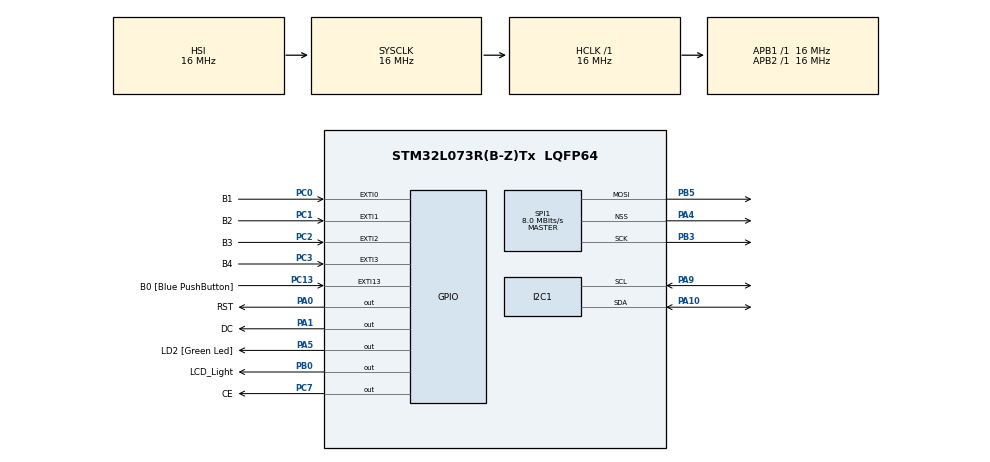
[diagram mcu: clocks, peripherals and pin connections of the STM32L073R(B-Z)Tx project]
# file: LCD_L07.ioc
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I2C1.Timing=0x00303D5B
Mcu.Family=STM32L0
Mcu.Name=STM32L073R(B-Z)Tx
Mcu.Package=LQFP64
NVIC.EXTI0_1_IRQn=true\:0\:0\:false\:false\:true\:true\:true\:true
NVIC.EXTI2_3_IRQn=true\:0\:0\:false\:false\:true\:true\:true\:true
NVIC.EXTI4_15_IRQn=true\:0\:0\:false\:false\:true\:true\:true\:true
NVIC.SPI1_IRQn=true\:0\:0\:false\:false\:true\:true\:true\:true
NVIC.TIM21_IRQn=true\:0\:0\:false\:false\:true\:true\:true\:true
NVIC.TIM3_IRQn=true\:0\:0\:false\:false\:true\:true\:true\:true
NVIC.TIM6_DAC_IRQn=true\:0\:0\:false\:false\:true\:true\:true\:true
NVIC.TIM7_IRQn=true\:0\:0\:false\:false\:true\:true\:true\:true
PA0.GPIO_Label=RST
PA0.Signal=GPIO_Output
PA1.GPIO_Label=DC
PA1.Signal=GPIO_Output
PA10.Mode=I2C
PA10.Signal=I2C1_SDA
PA13.GPIO_Label=TMS
PA13.Signal=SYS_SWDIO
PA14.GPIO_Label=TCK
PA14.Signal=SYS_SWCLK
PA2.GPIO_Label=USART_TX
PA2.Signal=USART2_TX
PA3.GPIO_Label=USART_RX
PA3.Signal=USART2_RX
PA4.Mode=NSS_Signal_Hard_Output
PA4.Signal=SPI1_NSS
PA5.GPIO_Label=LD2 [Green Led]
PA5.Signal=GPIO_Output
PA9.Mode=I2C
PA9.Signal=I2C1_SCL
PB0.GPIO_Label=LCD_Light
PB0.PinState=GPIO_PIN_SET
PB0.Signal=GPIO_Output
PB3.Mode=TX_Only_Simplex_Unidirect_Master
PB3.Signal=SPI1_SCK
PB5.Mode=TX_Only_Simplex_Unidirect_Master
PB5.Signal=SPI1_MOSI
PC0.GPIO_Label=B1
PC0.GPIO_ModeDefaultEXTI=GPIO_MODE_IT_RISING
PC0.Signal=GPXTI0
PC1.GPIO_Label=B2
PC1.GPIO_ModeDefaultEXTI=GPIO_MODE_IT_RISING
PC1.Signal=GPXTI1
PC13.GPIO_Label=B0 [Blue PushButton]
PC13.GPIO_ModeDefaultEXTI=GPIO_MODE_IT_RISING
PC13.Signal=GPXTI13
PC14-OSC32_IN.Signal=RCC_OSC32_IN
PC15-OSC32_OUT.Signal=RCC_OSC32_OUT
PC2.GPIO_Label=B3
PC2.GPIO_ModeDefaultEXTI=GPIO_MODE_IT_RISING
PC2.Signal=GPXTI2
PC3.GPIO_Label=B4
PC3.GPIO_ModeDefaultEXTI=GPIO_MODE_IT_RISING_FALLING
PC3.Signal=GPXTI3
PC7.GPIO_Label=CE
PC7.Signal=GPIO_Output
PH0-OSC_IN.GPIO_Label=MCO
PH0-OSC_IN.Mode=HSE-External-Oscillator
PH0-OSC_IN.Signal=RCC_OSC_IN
PH1-OSC_OUT.Mode=HSE-External-Oscillator
PH1-OSC_OUT.Signal=RCC_OSC_OUT
ProjectManager.HeapSize=0x200
ProjectManager.StackSize=0x300
ProjectManager.TargetToolchain=STM32CubeIDE
RCC.ADCFreq_Value=16000000
RCC.AHBFreq_Value=16000000
RCC.APB1Freq_Value=16000000
RCC.APB1TimFreq_Value=16000000
RCC.APB2Freq_Value=16000000
RCC.APB2TimFreq_Value=16000000
RCC.HCLKFreq_Value=16000000
RCC.HSE_VALUE=8000000
RCC.HSI16_VALUE=16000000
RCC.HSI48_VALUE=48000000
RCC.HSI_VALUE=16000000
RCC.LSEState=RCC_LSE_ON
RCC.LSE_VALUE=32768
RCC.MSI_VALUE=2097000
RCC.PLLDIV=RCC_PLLDIV_3
RCC.PLLMUL=RCC_PLLMUL_12
RCC.PLLSourceVirtual=RCC_PLLSOURCE_HSE
RCC.SYSCLKFreq_VALUE=16000000
RCC.SYSCLKSource=RCC_SYSCLKSOURCE_HSI
RCC.VCOOutputFreq_Value=96000000
SPI1.BaudRatePrescaler=SPI_BAUDRATEPRESCALER_2
SPI1.CalculateBaudRate=8.0 MBits/s
SPI1.Direction=SPI_DIRECTION_2LINES
SPI1.Mode=SPI_MODE_MASTER
SPI1.VirtualNSS=VM_NSSHARD
SPI1.VirtualType=VM_MASTER
TIM21.Period=1000-1
TIM21.Prescaler=16-1
TIM3.AutoReloadPreload=TIM_AUTORELOAD_PRELOAD_ENABLE
TIM3.Period=1000-1
TIM3.Prescaler=16000-1
TIM6.Period=1000-1
TIM6.Prescaler=32000-1
TIM7.AutoReloadPreload=TIM_AUTORELOAD_PRELOAD_ENABLE
TIM7.Period=1000-1
TIM7.Prescaler=1600-1
VP_TIM21_VS_ClockSourceINT.Mode=Internal
VP_TIM3_VS_ClockSourceINT.Mode=Internal
VP_TIM6_VS_ClockSourceINT.Mode=Enable_Timer
VP_TIM7_VS_ClockSourceINT.Mode=Enable_Timer
board=NUCLEO-L073RZ

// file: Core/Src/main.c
/* USER CODE BEGIN Header */
/**
 ******************************************************************************
 * @file           : main.c
 * @brief          : Main program body
 ******************************************************************************
 * @attention
 *
 * Copyright (c) 2022 STMicroelectronics.
 * All rights reserved.
 *
 * This software is licensed under terms that can be found in the LICENSE file
 * in the root directory of this software component.
 * If no LICENSE file comes with this software, it is provided AS-IS.
 *
 ******************************************************************************
 */
/* USER CODE END Header */

#include "main.h"

/* USER CODE BEGIN Includes */

#include "BMP280.h"
#include "Clock.h"

#include "Display.h"
#include "Strings.h"

//#include "Template_design.h"

#include "Template_design.h"
//#include "Stopper.h"
#include "Clock_callendar.h"
//#include "Time_set_mode.h"

/* USER CODE END Includes */

/* USER CODE BEGIN PD */
#define N_of_DeviceMode 3//how many device modes are. Remember to change it when you add a new mode
/* USER CODE END PD */

I2C_HandleTypeDef hi2c1;

SPI_HandleTypeDef hspi1;

TIM_HandleTypeDef htim3;
TIM_HandleTypeDef htim6;
TIM_HandleTypeDef htim7;
TIM_HandleTypeDef htim21;

void SystemClock_Config(void);
static void MX_GPIO_Init(void);
static void MX_SPI1_Init(void);
static void MX_TIM3_Init(void);
static void MX_I2C1_Init(void);
static void MX_TIM7_Init(void);
static void MX_TIM6_Init(void);
static void MX_TIM21_Init(void);

/* USER CODE BEGIN 0 */
/*
struct time_s time_stopper;

struct time_s time_global = { 0, 0, 0, 0, 07, 12, 2022, 3 };
struct bar_or_temp weather;
struct settings_s settings = { 0, 0, 0, 0 };
*/
uint8_t stopper_counter=0;
uint8_t bpm280_read_counter = 0;

/* USER CODE END 0 */

int main(void)
{

  /* MCU Configuration--------------------------------------------------------*/

  /* Reset of all peripherals, Initializes the Flash interface and the Systick. */
  HAL_Init();

  /* USER CODE BEGIN Init */
  /*
  LCD_hspi_p = &hspi1;
  BMP_i2c_p = &hi2c1;
*/

  /* USER CODE END Init */

  /* Configure the system clock */
  SystemClock_Config();

  /* Initialize all configured peripherals */
  MX_GPIO_Init();
  MX_SPI1_Init();
  MX_TIM3_Init();
  MX_I2C1_Init();
  MX_TIM7_Init();
  MX_TIM6_Init();
  MX_TIM21_Init();
  /* USER CODE BEGIN 2 */
/*
  LCD_Init();//has to be first

	Clock_init();
	Templates_init();
	Stopper_init();
	Time_set_init();
	BMP280_init();

	BMP280_read_values(&weather);
  HAL_TIM_Base_Start_IT(&htim3); //main clock timer
  clear_time(&time_stopper);

  currentMode = ClockMode;
  Clock_change_mode(&clock_pos, &clock_fonts, clock_mode, clock_horizontal_mode);
  Clock_template_init(&Clock_callendar, &time_global, &weather, &settings, &clock_pos, &clock_fonts);
  LCD_refresh(&Clock_callendar);
*/
  /* USER CODE END 2 */

  /* Infinite loop */
	while (1) {

	}
}

void SystemClock_Config(void)
{
  RCC_OscInitTypeDef RCC_OscInitStruct = {0};
  RCC_ClkInitTypeDef RCC_ClkInitStruct = {0};
  RCC_PeriphCLKInitTypeDef PeriphClkInit = {0};

  /** Configure the main internal regulator output voltage
  */
  __HAL_PWR_VOLTAGESCALING_CONFIG(PWR_REGULATOR_VOLTAGE_SCALE1);

  /** Initializes the RCC Oscillators according to the specified parameters
  * in the RCC_OscInitTypeDef structure.
  */
  RCC_OscInitStruct.OscillatorType = RCC_OSCILLATORTYPE_HSI;
  RCC_OscInitStruct.HSIState = RCC_HSI_ON;
  RCC_OscInitStruct.HSICalibrationValue = RCC_HSICALIBRATION_DEFAULT;
  RCC_OscInitStruct.PLL.PLLState = RCC_PLL_NONE;
  if (HAL_RCC_OscConfig(&RCC_OscInitStruct) != HAL_OK)
  {
    Error_Handler();
  }

  /** Initializes the CPU, AHB and APB buses clocks
  */
  RCC_ClkInitStruct.ClockType = RCC_CLOCKTYPE_HCLK|RCC_CLOCKTYPE_SYSCLK
                              |RCC_CLOCKTYPE_PCLK1|RCC_CLOCKTYPE_PCLK2;
  RCC_ClkInitStruct.SYSCLKSource = RCC_SYSCLKSOURCE_HSI;
  RCC_ClkInitStruct.AHBCLKDivider = RCC_SYSCLK_DIV1;
  RCC_ClkInitStruct.APB1CLKDivider = RCC_HCLK_DIV1;
  RCC_ClkInitStruct.APB2CLKDivider = RCC_HCLK_DIV1;

  if (HAL_RCC_ClockConfig(&RCC_ClkInitStruct, FLASH_LATENCY_0) != HAL_OK)
  {
    Error_Handler();
  }
  PeriphClkInit.PeriphClockSelection = RCC_PERIPHCLK_I2C1;
  PeriphClkInit.I2c1ClockSelection = RCC_I2C1CLKSOURCE_PCLK1;
  if (HAL_RCCEx_PeriphCLKConfig(&PeriphClkInit) != HAL_OK)
  {
    Error_Handler();
  }
}

static void MX_I2C1_Init(void)
{

  hi2c1.Instance = I2C1;
  hi2c1.Init.Timing = 0x00303D5B;
  hi2c1.Init.OwnAddress1 = 0;
  hi2c1.Init.AddressingMode = I2C_ADDRESSINGMODE_7BIT;
  hi2c1.Init.DualAddressMode = I2C_DUALADDRESS_DISABLE;
  hi2c1.Init.OwnAddress2 = 0;
  hi2c1.Init.OwnAddress2Masks = I2C_OA2_NOMASK;
  hi2c1.Init.GeneralCallMode = I2C_GENERALCALL_DISABLE;
  hi2c1.Init.NoStretchMode = I2C_NOSTRETCH_DISABLE;
  if (HAL_I2C_Init(&hi2c1) != HAL_OK)
  {
    Error_Handler();
  }

  /** Configure Analogue filter
  */
  if (HAL_I2CEx_ConfigAnalogFilter(&hi2c1, I2C_ANALOGFILTER_ENABLE) != HAL_OK)
  {
    Error_Handler();
  }

  /** Configure Digital filter
  */
  if (HAL_I2CEx_ConfigDigitalFilter(&hi2c1, 0) != HAL_OK)
  {
    Error_Handler();
  }

}

static void MX_SPI1_Init(void)
{

  /* SPI1 parameter configuration*/
  hspi1.Instance = SPI1;
  hspi1.Init.Mode = SPI_MODE_MASTER;
  hspi1.Init.Direction = SPI_DIRECTION_2LINES;
  hspi1.Init.DataSize = SPI_DATASIZE_8BIT;
  hspi1.Init.CLKPolarity = SPI_POLARITY_LOW;
  hspi1.Init.CLKPhase = SPI_PHASE_1EDGE;
  hspi1.Init.NSS = SPI_NSS_HARD_OUTPUT;
  hspi1.Init.BaudRatePrescaler = SPI_BAUDRATEPRESCALER_2;
  hspi1.Init.FirstBit = SPI_FIRSTBIT_MSB;
  hspi1.Init.TIMode = SPI_TIMODE_DISABLE;
  hspi1.Init.CRCCalculation = SPI_CRCCALCULATION_DISABLE;
  hspi1.Init.CRCPolynomial = 7;
  if (HAL_SPI_Init(&hspi1) != HAL_OK)
  {
    Error_Handler();
  }

}

static void MX_TIM3_Init(void)
{

  TIM_ClockConfigTypeDef sClockSourceConfig = {0};
  TIM_MasterConfigTypeDef sMasterConfig = {0};

  htim3.Instance = TIM3;
  htim3.Init.Prescaler = 16000-1;
  htim3.Init.CounterMode = TIM_COUNTERMODE_UP;
  htim3.Init.Period = 1000-1;
  htim3.Init.ClockDivision = TIM_CLOCKDIVISION_DIV1;
  htim3.Init.AutoReloadPreload = TIM_AUTORELOAD_PRELOAD_ENABLE;
  if (HAL_TIM_Base_Init(&htim3) != HAL_OK)
  {
    Error_Handler();
  }
  sClockSourceConfig.ClockSource = TIM_CLOCKSOURCE_INTERNAL;
  if (HAL_TIM_ConfigClockSource(&htim3, &sClockSourceConfig) != HAL_OK)
  {
    Error_Handler();
  }
  sMasterConfig.MasterOutputTrigger = TIM_TRGO_RESET;
  sMasterConfig.MasterSlaveMode = TIM_MASTERSLAVEMODE_DISABLE;
  if (HAL_TIMEx_MasterConfigSynchronization(&htim3, &sMasterConfig) != HAL_OK)
  {
    Error_Handler();
  }

}

static void MX_TIM6_Init(void)
{

  TIM_MasterConfigTypeDef sMasterConfig = {0};

  htim6.Instance = TIM6;
  htim6.Init.Prescaler = 32000-1;
  htim6.Init.CounterMode = TIM_COUNTERMODE_UP;
  htim6.Init.Period = 1000-1;
  htim6.Init.AutoReloadPreload = TIM_AUTORELOAD_PRELOAD_DISABLE;
  if (HAL_TIM_Base_Init(&htim6) != HAL_OK)
  {
    Error_Handler();
  }
  sMasterConfig.MasterOutputTrigger = TIM_TRGO_RESET;
  sMasterConfig.MasterSlaveMode = TIM_MASTERSLAVEMODE_DISABLE;
  if (HAL_TIMEx_MasterConfigSynchronization(&htim6, &sMasterConfig) != HAL_OK)
  {
    Error_Handler();
  }

}

static void MX_TIM7_Init(void)
{

  TIM_MasterConfigTypeDef sMasterConfig = {0};

  htim7.Instance = TIM7;
  htim7.Init.Prescaler = 1600-1;
  htim7.Init.CounterMode = TIM_COUNTERMODE_UP;
  htim7.Init.Period = 1000-1;
  htim7.Init.AutoReloadPreload = TIM_AUTORELOAD_PRELOAD_ENABLE;
  if (HAL_TIM_Base_Init(&htim7) != HAL_OK)
  {
    Error_Handler();
  }
  sMasterConfig.MasterOutputTrigger = TIM_TRGO_RESET;
  sMasterConfig.MasterSlaveMode = TIM_MASTERSLAVEMODE_DISABLE;
  if (HAL_TIMEx_MasterConfigSynchronization(&htim7, &sMasterConfig) != HAL_OK)
  {
    Error_Handler();
  }

}

static void MX_TIM21_Init(void)
{

  TIM_ClockConfigTypeDef sClockSourceConfig = {0};
  TIM_MasterConfigTypeDef sMasterConfig = {0};

  htim21.Instance = TIM21;
  htim21.Init.Prescaler = 16-1;
  htim21.Init.CounterMode = TIM_COUNTERMODE_UP;
  htim21.Init.Period = 1000-1;
  htim21.Init.ClockDivision = TIM_CLOCKDIVISION_DIV1;
  htim21.Init.AutoReloadPreload = TIM_AUTORELOAD_PRELOAD_DISABLE;
  if (HAL_TIM_Base_Init(&htim21) != HAL_OK)
  {
    Error_Handler();
  }
  sClockSourceConfig.ClockSource = TIM_CLOCKSOURCE_INTERNAL;
  if (HAL_TIM_ConfigClockSource(&htim21, &sClockSourceConfig) != HAL_OK)
  {
    Error_Handler();
  }
  sMasterConfig.MasterOutputTrigger = TIM_TRGO_RESET;
  sMasterConfig.MasterSlaveMode = TIM_MASTERSLAVEMODE_DISABLE;
  if (HAL_TIMEx_MasterConfigSynchronization(&htim21, &sMasterConfig) != HAL_OK)
  {
    Error_Handler();
  }

}

static void MX_GPIO_Init(void)
{
  GPIO_InitTypeDef GPIO_InitStruct = {0};

  /* GPIO Ports Clock Enable */
  __HAL_RCC_GPIOC_CLK_ENABLE();
  __HAL_RCC_GPIOH_CLK_ENABLE();
  __HAL_RCC_GPIOA_CLK_ENABLE();
  __HAL_RCC_GPIOB_CLK_ENABLE();

  /*Configure GPIO pin Output Level */
  HAL_GPIO_WritePin(GPIOA, RST_Pin|DC_Pin|LD2_Pin, GPIO_PIN_RESET);

  /*Configure GPIO pin Output Level */
  HAL_GPIO_WritePin(LCD_Light_GPIO_Port, LCD_Light_Pin, GPIO_PIN_SET);

  /*Configure GPIO pin Output Level */
  HAL_GPIO_WritePin(CE_GPIO_Port, CE_Pin, GPIO_PIN_RESET);

  /*Configure GPIO pins : B0_Pin B1_Pin B2_Pin B3_Pin */
  GPIO_InitStruct.Pin = B0_Pin|B1_Pin|B2_Pin|B3_Pin;
  GPIO_InitStruct.Mode = GPIO_MODE_IT_RISING;
  GPIO_InitStruct.Pull = GPIO_NOPULL;
  HAL_GPIO_Init(GPIOC, &GPIO_InitStruct);

  /*Configure GPIO pin : B4_Pin */
  GPIO_InitStruct.Pin = B4_Pin;
  GPIO_InitStruct.Mode = GPIO_MODE_IT_RISING_FALLING;
  GPIO_InitStruct.Pull = GPIO_NOPULL;
  HAL_GPIO_Init(B4_GPIO_Port, &GPIO_InitStruct);

  /*Configure GPIO pins : RST_Pin DC_Pin LD2_Pin */
  GPIO_InitStruct.Pin = RST_Pin|DC_Pin|LD2_Pin;
  GPIO_InitStruct.Mode = GPIO_MODE_OUTPUT_PP;
  GPIO_InitStruct.Pull = GPIO_NOPULL;
  GPIO_InitStruct.Speed = GPIO_SPEED_FREQ_LOW;
  HAL_GPIO_Init(GPIOA, &GPIO_InitStruct);

  /*Configure GPIO pins : USART_TX_Pin USART_RX_Pin */
  GPIO_InitStruct.Pin = USART_TX_Pin|USART_RX_Pin;
  GPIO_InitStruct.Mode = GPIO_MODE_AF_PP;
  GPIO_InitStruct.Pull = GPIO_NOPULL;
  GPIO_InitStruct.Speed = GPIO_SPEED_FREQ_VERY_HIGH;
  GPIO_InitStruct.Alternate = GPIO_AF4_USART2;
  HAL_GPIO_Init(GPIOA, &GPIO_InitStruct);

  /*Configure GPIO pin : LCD_Light_Pin */
  GPIO_InitStruct.Pin = LCD_Light_Pin;
  GPIO_InitStruct.Mode = GPIO_MODE_OUTPUT_PP;
  GPIO_InitStruct.Pull = GPIO_NOPULL;
  GPIO_InitStruct.Speed = GPIO_SPEED_FREQ_LOW;
  HAL_GPIO_Init(LCD_Light_GPIO_Port, &GPIO_InitStruct);

  /*Configure GPIO pin : CE_Pin */
  GPIO_InitStruct.Pin = CE_Pin;
  GPIO_InitStruct.Mode = GPIO_MODE_OUTPUT_PP;
  GPIO_InitStruct.Pull = GPIO_NOPULL;
  GPIO_InitStruct.Speed = GPIO_SPEED_FREQ_LOW;
  HAL_GPIO_Init(CE_GPIO_Port, &GPIO_InitStruct);

  /* EXTI interrupt init*/
  HAL_NVIC_SetPriority(EXTI0_1_IRQn, 0, 0);
  HAL_NVIC_EnableIRQ(EXTI0_1_IRQn);

  HAL_NVIC_SetPriority(EXTI2_3_IRQn, 0, 0);
  HAL_NVIC_EnableIRQ(EXTI2_3_IRQn);

  HAL_NVIC_SetPriority(EXTI4_15_IRQn, 0, 0);
  HAL_NVIC_EnableIRQ(EXTI4_15_IRQn);

}

/* USER CODE BEGIN 4 */

uint8_t LED_contant_on = 0; //1 if the led is constantly on
uint8_t blinking_duty = 2; // how long the led will be blinking

/*
void HAL_SPI_TxCpltCallback (SPI_HandleTypeDef *hspi){
	HAL_GPIO_WritePin(CE_GPIO_Port, CE_Pin, GPIO_PIN_SET);
}
*/

void LED_change_state(){
	uint8_t LED_state = !HAL_GPIO_ReadPin(LCD_Light_GPIO_Port, LCD_Light_Pin); //0 for turning off, 1 for turning on
	if (HAL_GPIO_ReadPin(B4_GPIO_Port, B4_Pin) == 1) { // rising edge
		if(LED_state){//if the leds are turn on
			if(LED_contant_on){ //if the led are constantly turn on
				LED_contant_on=0;
				HAL_GPIO_WritePin(LCD_Light_GPIO_Port, LCD_Light_Pin, 1);//turn it off
			}else {
				HAL_GPIO_WritePin(LCD_Light_GPIO_Port, LCD_Light_Pin, 0);//turn it on
				LED_contant_on=1;
				HAL_TIM_Base_Stop_IT(&htim6);
			}
		}else{ //if the leds are turn off
			HAL_GPIO_WritePin(LCD_Light_GPIO_Port, LCD_Light_Pin, 0); // when the value of the pin is 0, the led's are on
		}
	}else if(LED_contant_on==0){ //falling edge. LEDs will turn off some time after that event
		HAL_TIM_Base_Start_IT(&htim6); //start the timer that will turn off the led
	}
}
/*
void HAL_TIM_PeriodElapsedCallback(TIM_HandleTypeDef *htim) {
	if (htim == &htim3) { //The most important, used to add one second every second.
		add_one_second(&time_global);
		BMP280_read_values_dynamic(&weather, &bpm280_read_counter);
		if(currentMode == ClockMode){
			Callendar_template_update_and_send(&Clock_callendar,&time_global, &weather, &settings, &clock_pos, &clock_fonts);
		}
	}else if (htim == &htim6) { //this one is to turn the led off after some time (1ms)
		HAL_GPIO_WritePin(LCD_Light_GPIO_Port, LCD_Light_Pin, 1); //led off
		HAL_TIM_Base_Stop_IT(&htim6);//autodestruction
	}else if (htim == &htim7) { //this is responsible for blinking during time set mode.
		if (currentMode == TimeSetMode){
			blinking_duty++;
			if(blinking_duty>3){
				Time_set_blink(&Clock_callendar,&time_global,  &settings,&weather, &clock_pos, &clock_fonts, N_of_B3pressed);
				blinking_duty=0;
			}else{
				Clock_template_init(&Clock_callendar,&time_global, &weather, &settings, &clock_pos, &clock_fonts);
			}
			LCD_refresh(&Clock_callendar);
		}
	}else if (htim == &htim21){ //stopper, add one millisecond,

		//add_one_millisecond(&time_stopper);
		if (currentMode == StopperMode) {  //only some small part of the data will be send to the
			stopper_counter++;
			if(stopper_counter%7==0){// the stopper refresh lcd only 111 times a second, but it is possible to do it 850 times a second.
				add_n_milliseconds(&time_stopper,7);
				Stopper_update_and_send(&Stopper_template,&time_stopper, &settings, &weather, &stopper_pos);
			}
		}
	}
}

void HAL_GPIO_EXTI_Callback(uint16_t GPIO_Pin) {
	if (GPIO_Pin == GPIO_PIN_0){ // if the pushed button is B1 (mode change)
		currentMode++;
		if(currentMode>N_of_DeviceMode-1)
			currentMode = ClockMode;
		if(currentMode == TimeSetMode){
			N_of_B3pressed=0;
			HAL_TIM_Base_Start_IT(&htim7); //used to blink
			Clock_change_mode(&clock_pos, &clock_fonts, DTP, clock_horizontal_mode);
			Clock_template_init(&Clock_callendar, &time_global, &weather, &settings, &clock_pos, &clock_fonts);
			LCD_refresh(&Clock_callendar);
		}else if(currentMode == TimerMode){

		}else if(currentMode == ClockMode){
			Clock_template_init_and_send(&Clock_callendar, &time_global, &weather, &settings, &clock_pos, &clock_fonts);
		}else if(currentMode == StopperMode){
			Stopper_template_init(&Stopper_template,&time_stopper, &weather, &settings, &stopper_pos, &stopper_fonts);
			LCD_refresh(&Stopper_template);
		}
	}if (GPIO_Pin == GPIO_PIN_1){ // if the pushed button is B2 (arrow button or stop button)
		if(currentMode == ClockMode){
			clock_mode++;
			if(clock_mode>=CLOCK_MODES)
				clock_mode = 0;
			Clock_template_init_and_send(&Clock_callendar, &time_global, &weather, &settings, &clock_pos, &clock_fonts);
		}
		if(currentMode == TimeSetMode){
			change_time(&time_global,&settings,N_of_B3pressed);
			Clock_template_init_and_send(&Clock_callendar, &time_global, &weather, &settings, &clock_pos, &clock_fonts);
		}else if(currentMode == StopperMode){
			if(htim21.State== HAL_TIM_STATE_READY){
				clear_time(&time_stopper);
				Clock_template_init_and_send(&Clock_callendar, &time_global, &weather, &settings, &clock_pos, &clock_fonts);
			}else
				HAL_TIM_Base_Stop_IT(&htim21); // stop the miliseconds timer
		}
	}if (GPIO_Pin == GPIO_PIN_2){ // if the pushed button is B3 (confirmation button, or start button)
		if(currentMode == ClockMode){
			Change_clock_horizontal_mode();
			Clock_template_init_and_send(&Clock_callendar, &time_global, &weather, &settings, &clock_pos, &clock_fonts);
		}
		if(currentMode == TimeSetMode){
			N_of_B3pressed++;
			if (N_of_B3pressed == N_of_chenging_value)//N_of_chenging_value is max value of N_of_B3pressed
				N_of_B3pressed = 0;
		}else if(currentMode == StopperMode){
			if(!TIM21->CR1) // checks if timer is turn off
				HAL_TIM_Base_Start_IT(&htim21); // turns on the timer
		}
	}if (GPIO_Pin == GPIO_PIN_3){ // if the pushed button is B4 (led button)
		LED_change_state();
	}
}
*/

/* USER CODE END 4 */

void Error_Handler(void)
{
	__disable_irq();
	while (1) {
	}
}
